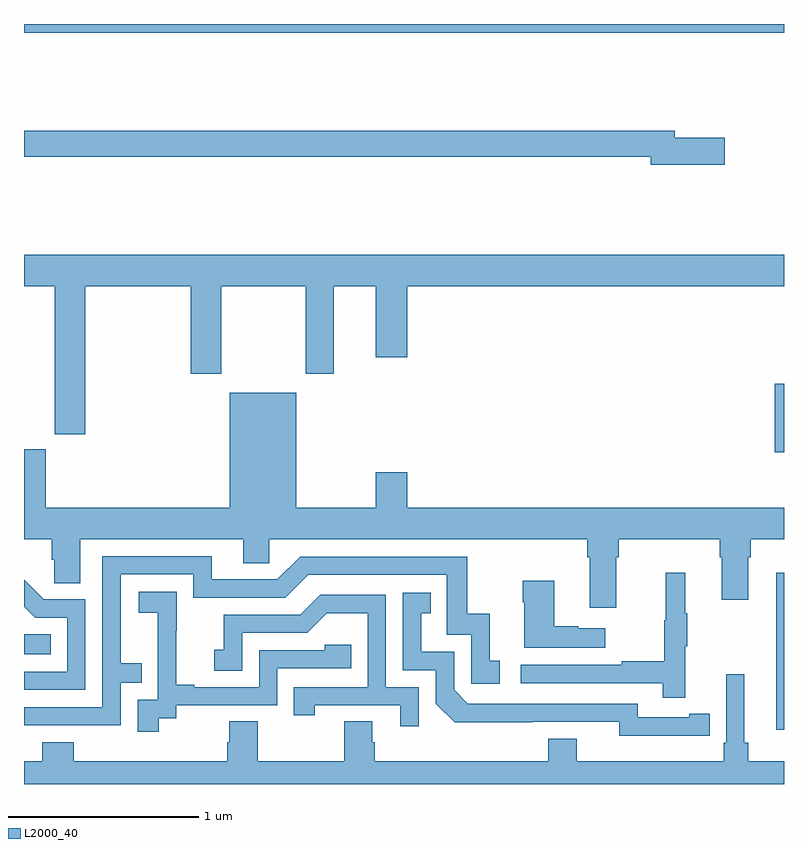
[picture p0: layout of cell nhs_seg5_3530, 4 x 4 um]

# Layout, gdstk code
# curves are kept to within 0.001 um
import gdstk
lib = gdstk.Library(unit=1e-6, precision=1e-09)
def R(c, l, rs):  # rectangles x0, y0, x1, y1
    for r in rs: c.add(gdstk.rectangle(r[:2], r[2:], *l))
def P(c, l, *ps):  # polygons
    for p in ps: c.add(gdstk.Polygon(p, *l))
L2000_40 = (2000, 40)

nhs_seg5_3530 = lib.new_cell('nhs_seg5_3530')
R(nhs_seg5_3530, L2000_40, [(322.958,861.084,323,861.91), (319,861.482,319.142,861.586), (322.952,862.546,323,862.906), (319,864.752,323,864.799)])
P(nhs_seg5_3530, L2000_40, [(322.687,864.2),(322.426,864.2),(322.426,864.236),(319,864.236),(319,864.1),(322.298,864.1),(322.298,864.058),(322.687,864.058)],
  [(319,863.42),(319.162,863.42),(319.162,862.641),(319.322,862.641),(319.322,863.42),(319.877,863.42),(319.877,862.959),(320.037,862.959),(320.037,863.42),(320.482,863.42),(320.482,862.959),(320.629,862.959),(320.629,863.42),(320.852,863.42),(320.852,863.046),(321.016,863.046),(321.016,863.42),(323,863.42),(323,863.584),(319,863.584)],
  [(322.117,861.992),(322.13,861.992),(322.13,862.088),(322.661,862.088),(322.661,861.992),(322.673,861.992),(322.673,861.768),(322.813,861.768),(322.813,861.992),(322.826,861.992),(322.826,862.088),(323,862.088),(323,862.252),(321.016,862.252),(321.016,862.441),(320.852,862.441),(320.852,862.252),(320.434,862.252),(320.434,862.858),(320.084,862.858),(320.084,862.252),(319.114,862.252),(319.114,862.561),(319,862.561),(319,862.088),(319.145,862.088),(319.145,861.979),(319.158,861.979),(319.158,861.856),(319.297,861.856),(319.297,862.088),(320.153,862.088),(320.153,861.961),(320.292,861.961),(320.292,862.088),(321.965,862.088),(321.965,861.992),(321.977,861.992),(321.977,861.726),(322.117,861.726)],
  [(319.013,861.108),(319.509,861.108),(319.509,861.333),(319.619,861.333),(319.619,861.434),(319.509,861.434),(319.509,861.903),(319.89,861.903),(319.89,861.78),(320.376,861.78),(320.496,861.9),(321.225,861.9),(321.225,861.585),(321.354,861.585),(321.354,861.327),(321.505,861.327),(321.505,861.447),(321.452,861.447),(321.452,861.694),(321.334,861.694),(321.334,861.996),(320.454,861.996),(320.334,861.876),(319.987,861.876),(319.987,861.999),(319.413,861.999),(319.413,861.204),(319,861.204),(319,861.107)],
  [(322.481,861.523),(322.492,861.523),(322.492,861.697),(322.481,861.697),(322.481,861.91),(322.378,861.91),(322.378,861.66),(322.371,861.66),(322.371,861.446),(322.147,861.446),(322.147,861.426),(321.615,861.426),(321.615,861.33),(322.363,861.33),(322.363,861.252),(322.481,861.252)],
  [(319.323,861.771),(319.104,861.771),(319,861.875),(319,861.733),(319.058,861.675),(319.227,861.675),(319.227,861.39),(319,861.39),(319,861.294),(319.323,861.294)],
  [(322.06,861.619),(321.917,861.619),(321.917,861.629),(321.79,861.629),(321.79,861.868),(321.625,861.868),(321.625,861.755),(321.632,861.755),(321.632,861.515),(322.06,861.515)],
  [(319.708,861.145),(319.8,861.145),(319.8,861.213),(320.334,861.213),(320.334,861.408),(320.723,861.408),(320.723,861.531),(320.583,861.531),(320.583,861.504),(320.238,861.504),(320.238,861.309),(319.897,861.309),(319.897,861.322),(319.802,861.322),(319.802,861.605),(319.803,861.605),(319.803,861.811),(319.605,861.811),(319.605,861.701),(319.703,861.701),(319.703,861.473),(319.704,861.473),(319.704,861.243),(319.599,861.243),(319.599,861.075),(319.708,861.075)],
  [(322.502,861.054),(322.61,861.054),(322.61,861.17),(322.502,861.17),(322.502,861.15),(322.23,861.15),(322.23,861.222),(321.336,861.222),(321.264,861.294),(321.264,861.495),(321.091,861.495),(321.091,861.699),(321.14,861.699),(321.14,861.805),(320.994,861.805),(320.994,861.399),(321.168,861.399),(321.168,861.222),(321.266,861.125),(322.134,861.126),(322.134,861.053)],
  [(321.078,861.309),(320.904,861.309),(320.904,861.795),(320.558,861.795),(320.453,861.69),(320.05,861.69),(320.05,861.505),(320.001,861.505),(320.001,861.396),(320.148,861.396),(320.148,861.594),(320.49,861.594),(320.594,861.698),(320.808,861.698),(320.808,861.309),(320.419,861.309),(320.419,861.162),(320.53,861.162),(320.53,861.213),(320.981,861.213),(320.981,861.102),(321.078,861.102)],
  [(323,860.92),(322.811,860.92),(322.811,861.016),(322.792,861.016),(322.792,861.376),(322.695,861.376),(322.695,861.016),(322.682,861.016),(322.682,860.92),(321.91,860.92),(321.91,861.037),(321.758,861.037),(321.758,860.92),(320.846,860.92),(320.846,861.018),(320.833,861.018),(320.833,861.128),(320.686,861.128),(320.686,860.92),(320.229,860.92),(320.229,861.128),(320.081,861.128),(320.081,861.018),(320.069,861.018),(320.069,860.92),(319.262,860.92),(319.262,861.019),(319.097,861.019),(319.097,860.92),(319,860.92),(319,860.799),(323,860.799)])

lib.write_gds('nhs_seg5_3530.gds')
